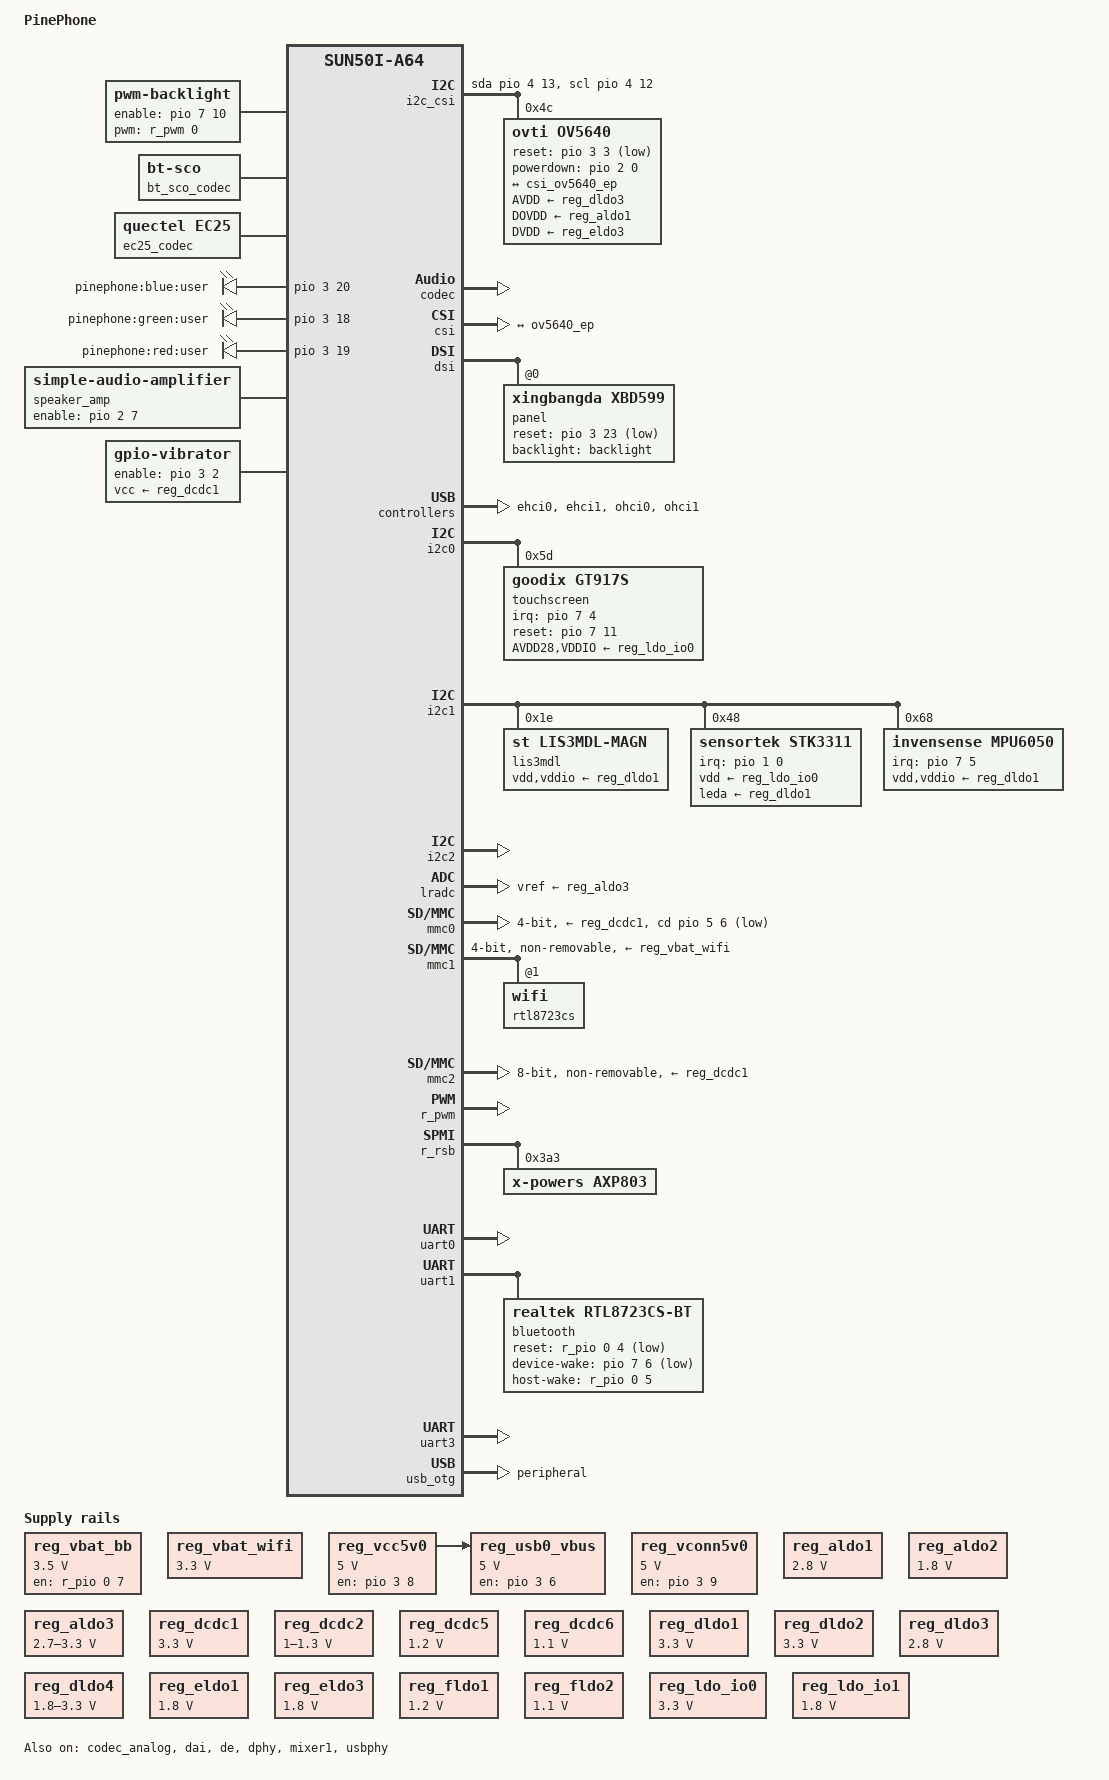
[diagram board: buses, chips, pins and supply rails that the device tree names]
// SPDX-License-Identifier: (GPL-2.0+ OR MIT)
/*
 * Copyright (C) 2019 Icenowy Zheng <icenowy@aosc.xyz>
 *
 */

/dts-v1/;

#include "sun50i-a64.dtsi"
#include "sun50i-a64-cpu-opp.dtsi"

#include <dt-bindings/gpio/gpio.h>
#include <dt-bindings/input/input.h>
#include <dt-bindings/pwm/pwm.h>

/ {
	model = "PinePhone";
	compatible = "pine64,pinephone", "allwinner,sun50i-a64";

	aliases {
		serial0 = &uart0;
		ethernet0 = &rtl8723cs;
	};

	backlight: backlight {
		compatible = "pwm-backlight";
		pwms = <&r_pwm 0 50000 PWM_POLARITY_INVERTED>;
		brightness-levels = <0 10 20 30 40 50 60 70 80 90 100>;
		default-brightness-level = <8>;
		enable-gpios = <&pio 7 10 GPIO_ACTIVE_HIGH>; /* PH10 */
	};

	bt_sco_codec: bt-sco-codec {
		#sound-dai-cells = <1>;
		compatible = "linux,bt-sco";
	};

	chosen {
		stdout-path = "serial0:115200n8";
	};

	ec25_codec: ec25-codec {
		#sound-dai-cells = <0>;
		compatible = "quectel,ec25";
	};

	i2c_csi: i2c-csi {
		compatible = "i2c-gpio";
		sda-gpios = <&pio 4 13 (GPIO_ACTIVE_HIGH | GPIO_OPEN_DRAIN)>; /* PE13 */
		scl-gpios = <&pio 4 12 (GPIO_ACTIVE_HIGH | GPIO_OPEN_DRAIN)>; /* PE12 */
		i2c-gpio,delay-us = <3>;
		#address-cells = <1>;
		#size-cells = <0>;
	};

	leds {
		compatible = "gpio-leds";

		blue {
			label = "pinephone:blue:user";
			gpios = <&pio 3 20 GPIO_ACTIVE_HIGH>; /* PD20 */
		};

		green {
			label = "pinephone:green:user";
			gpios = <&pio 3 18 GPIO_ACTIVE_HIGH>; /* PD18 */
		};

		red {
			label = "pinephone:red:user";
			gpios = <&pio 3 19 GPIO_ACTIVE_HIGH>; /* PD19 */
		};
	};

	reg_usb0_vbus: usb0-vbus {
		compatible = "regulator-fixed";
		regulator-name = "usb0-vbus";
		regulator-min-microvolt = <5000000>;
		regulator-max-microvolt = <5000000>;
		gpio = <&pio 3 6 GPIO_ACTIVE_HIGH>; /* PD6 */
		enable-active-high;
		vin-supply = <&reg_vcc5v0>;
	};

	reg_vbat_bb: vbat-bb {
		compatible = "regulator-fixed";
		regulator-name = "vbat-bb";
		regulator-min-microvolt = <3500000>;
		regulator-max-microvolt = <3500000>;
		gpio = <&r_pio 0 7 GPIO_ACTIVE_HIGH>; /* PL7 */
		enable-active-high;
	};

	reg_vbat_wifi: vbat-wifi {
		compatible = "regulator-fixed";
		regulator-min-microvolt = <3300000>;
		regulator-max-microvolt = <3300000>;
		regulator-name = "vbat-wifi";
	};

	reg_vcc5v0: vcc5v0 {
		compatible = "regulator-fixed";
		regulator-name = "vcc5v0";
		regulator-min-microvolt = <5000000>;
		regulator-max-microvolt = <5000000>;
		gpio = <&pio 3 8 GPIO_ACTIVE_HIGH>; /* PD8 */
		enable-active-high;
	};

	reg_vconn5v0: vconn5v0 {
		compatible = "regulator-fixed";
		regulator-name = "vconn5v0";
		regulator-min-microvolt = <5000000>;
		regulator-max-microvolt = <5000000>;
		gpio = <&pio 3 9 GPIO_ACTIVE_HIGH>; /* PD9 */
		enable-active-high;
	};

	speaker_amp: audio-amplifier {
		compatible = "simple-audio-amplifier";
		enable-gpios = <&pio 2 7 GPIO_ACTIVE_HIGH>; /* PC7 */
		sound-name-prefix = "Speaker Amp";
	};

	vibrator {
		compatible = "gpio-vibrator";
		enable-gpios = <&pio 3 2 GPIO_ACTIVE_HIGH>; /* PD2 */
		vcc-supply = <&reg_dcdc1>;
	};
};

&codec {
	status = "okay";
};

&codec_analog {
	cpvdd-supply = <&reg_eldo1>;
	status = "okay";
};

&cpu0 {
	cpu-supply = <&reg_dcdc2>;
};

&cpu1 {
	cpu-supply = <&reg_dcdc2>;
};

&cpu2 {
	cpu-supply = <&reg_dcdc2>;
};

&cpu3 {
	cpu-supply = <&reg_dcdc2>;
};

&csi {
	pinctrl-0 = <&csi_pins>, <&csi_mclk_pin>;
	status = "okay";

	port {
		#address-cells = <1>;
		#size-cells = <0>;

		csi_ov5640_ep: endpoint@0 {
			reg = <0>;
			remote-endpoint = <&ov5640_ep>;
			bus-width = <8>;
			hsync-active = <1>; /* Active high */
			vsync-active = <0>; /* Active low */
			data-active = <1>;  /* Active high */
			pclk-sample = <1>;  /* Rising */
		};
	};
};

&dai {
	status = "okay";
};

&de {
	status = "okay";
};

&dphy {
	status = "okay";
};

&dsi {
	vcc-dsi-supply = <&reg_dldo1>;
	#address-cells = <1>;
	#size-cells = <0>;
	status = "okay";

	panel@0 {
		compatible = "xingbangda,xbd599";
		reg = <0>;
		reset-gpios = <&pio 3 23 GPIO_ACTIVE_LOW>; /* PD23 */
		backlight = <&backlight>;
	};
};

&ehci0 {
	status = "okay";
};

&ehci1 {
	status = "okay";
};

&i2c_csi {
	ov5640: rear-camera@4c {
		compatible = "ovti,ov5640";
		reg = <0x4c>;
		clocks = <&ccu CLK_CSI_MCLK>;
		clock-names = "xclk";

		AVDD-supply = <&reg_dldo3>;
		DOVDD-supply = <&reg_aldo1>; /* shared with AFVCC */
		DVDD-supply = <&reg_eldo3>;
		reset-gpios = <&pio 3 3 (GPIO_ACTIVE_LOW | GPIO_OPEN_DRAIN)>; /* PD3 */
		powerdown-gpios = <&pio 2 0 (GPIO_ACTIVE_HIGH | GPIO_OPEN_DRAIN)>; /* PC0 */

		port {
			ov5640_ep: endpoint {
				remote-endpoint = <&csi_ov5640_ep>;
				bus-width = <8>;
				hsync-active = <1>; /* Active high */
				vsync-active = <0>; /* Active low */
				data-active = <1>;  /* Active high */
				pclk-sample = <1>;  /* Rising */
			};
		};
	};
};

&i2c0 {
	pinctrl-names = "default";
	pinctrl-0 = <&i2c0_pins>;
	status = "okay";

	touchscreen@5d {
		compatible = "goodix,gt917s", "goodix,gt911";
		reg = <0x5d>;
		interrupt-parent = <&pio>;
		interrupts = <7 4 IRQ_TYPE_LEVEL_HIGH>; /* PH4 */
		irq-gpios = <&pio 7 4 GPIO_ACTIVE_HIGH>; /* PH4 */
		reset-gpios = <&pio 7 11 GPIO_ACTIVE_HIGH>; /* PH11 */
		AVDD28-supply = <&reg_ldo_io0>;
		VDDIO-supply = <&reg_ldo_io0>;
		touchscreen-size-x = <720>;
		touchscreen-size-y = <1440>;
	};
};

&i2c1 {
	pinctrl-names = "default";
	pinctrl-0 = <&i2c1_pins>;
	status = "okay";

	/* Magnetometer */
	lis3mdl@1e {
		compatible = "st,lis3mdl-magn";
		reg = <0x1e>;
		vdd-supply = <&reg_dldo1>;
		vddio-supply = <&reg_dldo1>;
	};

	/* Light/proximity sensor */
	stk3311@48 {
		compatible = "sensortek,stk3311";
		reg = <0x48>;
		interrupt-parent = <&pio>;
		interrupts = <1 0 IRQ_TYPE_EDGE_FALLING>; /* PB0 */
		vdd-supply = <&reg_ldo_io0>;
		leda-supply = <&reg_dldo1>;
	};

	/* Accelerometer/gyroscope */
	mpu6050@68 {
		compatible = "invensense,mpu6050";
		reg = <0x68>;
		interrupt-parent = <&pio>;
		interrupts = <7 5 IRQ_TYPE_EDGE_RISING>; /* PH5 */
		vdd-supply = <&reg_dldo1>;
		vddio-supply = <&reg_dldo1>;
	};
};

/* Connected to pogo pins */
&i2c2 {
	pinctrl-names = "default";
	pinctrl-0 = <&i2c2_pins>;
	status = "okay";
};

&lradc {
	vref-supply = <&reg_aldo3>;
	status = "okay";

	button-200 {
		label = "Volume Up";
		linux,code = <KEY_VOLUMEUP>;
		channel = <0>;
		voltage = <200000>;
	};

	button-400 {
		label = "Volume Down";
		linux,code = <KEY_VOLUMEDOWN>;
		channel = <0>;
		voltage = <400000>;
	};
};

&mixer1 {
	status = "okay";
};

&mmc0 {
	pinctrl-names = "default";
	pinctrl-0 = <&mmc0_pins>;
	vmmc-supply = <&reg_dcdc1>;
	vqmmc-supply = <&reg_dcdc1>;
	cd-gpios = <&pio 5 6 GPIO_ACTIVE_LOW>; /* PF6 */
	disable-wp;
	bus-width = <4>;
	status = "okay";
};

&mmc1 {
	pinctrl-names = "default";
	pinctrl-0 = <&mmc1_pins>;
	vmmc-supply = <&reg_vbat_wifi>;
	vqmmc-supply = <&reg_dldo4>;
	bus-width = <4>;
	non-removable;
	status = "okay";

	rtl8723cs: wifi@1 {
		reg = <1>;
	};
};

&mmc2 {
	pinctrl-names = "default";
	pinctrl-0 = <&mmc2_pins>;
	vmmc-supply = <&reg_dcdc1>;
	vqmmc-supply = <&reg_dcdc1>;
	bus-width = <8>;
	non-removable;
	cap-mmc-hw-reset;
	status = "okay";
};

&ohci0 {
	status = "okay";
};

&ohci1 {
	status = "okay";
};

&pio {
	vcc-pb-supply = <&reg_dcdc1>;
	vcc-pc-supply = <&reg_dcdc1>;
	vcc-pd-supply = <&reg_dcdc1>;
	vcc-pe-supply = <&reg_aldo1>;
	vcc-pf-supply = <&reg_dcdc1>;
	vcc-pg-supply = <&reg_dldo4>;
	vcc-ph-supply = <&reg_dcdc1>;
};

&r_pio {
	/*
	 * FIXME: We can't add that supply for now since it would
	 * create a circular dependency between pinctrl, the regulator
	 * and the RSB Bus.
	 *
	 * vcc-pl-supply = <&reg_aldo2>;
	 */
};

&r_pwm {
	status = "okay";
};

&r_rsb {
	status = "okay";

	axp803: pmic@3a3 {
		compatible = "x-powers,axp803";
		reg = <0x3a3>;
		interrupt-parent = <&r_intc>;
		interrupts = <0 IRQ_TYPE_LEVEL_LOW>;
	};
};

#include "axp803.dtsi"

&ac_power_supply {
	status = "okay";
};

&axp_adc {
	x-powers,ts-as-gpadc;
};

&battery_power_supply {
	status = "okay";
};

&reg_aldo1 {
	regulator-min-microvolt = <2800000>;
	regulator-max-microvolt = <2800000>;
	regulator-name = "dovdd-csi";
};

&reg_aldo2 {
	regulator-always-on;
	regulator-min-microvolt = <1800000>;
	regulator-max-microvolt = <1800000>;
	regulator-name = "vcc-pl";
};

&reg_aldo3 {
	regulator-always-on;
	regulator-min-microvolt = <2700000>;
	regulator-max-microvolt = <3300000>;
	regulator-name = "vcc-pll-avcc";
};

&reg_dcdc1 {
	regulator-always-on;
	regulator-min-microvolt = <3300000>;
	regulator-max-microvolt = <3300000>;
	regulator-name = "vcc-3v3";
};

&reg_dcdc2 {
	regulator-always-on;
	regulator-min-microvolt = <1000000>;
	regulator-max-microvolt = <1300000>;
	regulator-name = "vdd-cpux";
};

/* DCDC3 is polyphased with DCDC2 */

&reg_dcdc5 {
	regulator-always-on;
	regulator-min-microvolt = <1200000>;
	regulator-max-microvolt = <1200000>;
	regulator-name = "vcc-dram";
};

&reg_dcdc6 {
	regulator-always-on;
	regulator-min-microvolt = <1100000>;
	regulator-max-microvolt = <1100000>;
	regulator-name = "vdd-sys";
};

&reg_dldo1 {
	regulator-always-on;
	regulator-min-microvolt = <3300000>;
	regulator-max-microvolt = <3300000>;
	regulator-name = "vcc-dsi-sensor";
};

&reg_dldo2 {
	regulator-always-on;
	regulator-min-microvolt = <3300000>;
	regulator-max-microvolt = <3300000>;
	regulator-name = "vcc-mipi-io";
};

&reg_dldo3 {
	regulator-min-microvolt = <2800000>;
	regulator-max-microvolt = <2800000>;
	regulator-name = "avdd-csi";
};

&reg_dldo4 {
	regulator-min-microvolt = <1800000>;
	regulator-max-microvolt = <3300000>;
	regulator-name = "vcc-wifi-io";
};

&reg_eldo1 {
	regulator-always-on;
	regulator-min-microvolt = <1800000>;
	regulator-max-microvolt = <1800000>;
	regulator-name = "vcc-lpddr";
};

&reg_eldo3 {
	regulator-min-microvolt = <1800000>;
	regulator-max-microvolt = <1800000>;
	regulator-name = "dvdd-1v8-csi";
};

&reg_fldo1 {
	regulator-min-microvolt = <1200000>;
	regulator-max-microvolt = <1200000>;
	regulator-name = "vcc-1v2-hsic";
};

&reg_fldo2 {
	regulator-always-on;
	regulator-min-microvolt = <1100000>;
	regulator-max-microvolt = <1100000>;
	regulator-name = "vdd-cpus";
};

&reg_ldo_io0 {
	regulator-always-on;
	regulator-min-microvolt = <3300000>;
	regulator-max-microvolt = <3300000>;
	regulator-name = "vcc-lcd-ctp-stk";
	status = "okay";
};

&reg_ldo_io1 {
	regulator-min-microvolt = <1800000>;
	regulator-max-microvolt = <1800000>;
	regulator-name = "vcc-1v8-typec";
	status = "okay";
};

&reg_rtc_ldo {
	regulator-name = "vcc-rtc";
};

&sound {
	status = "okay";
	simple-audio-card,aux-devs = <&codec_analog>, <&speaker_amp>;
	simple-audio-card,widgets = "Microphone", "Headset Microphone",
				    "Microphone", "Internal Microphone",
				    "Headphone", "Headphone Jack",
				    "Speaker", "Internal Earpiece",
				    "Speaker", "Internal Speaker";
	simple-audio-card,routing =
			"Headphone Jack", "HP",
			"Internal Earpiece", "EARPIECE",
			"Internal Speaker", "Speaker Amp OUTL",
			"Internal Speaker", "Speaker Amp OUTR",
			"Speaker Amp INL", "LINEOUT",
			"Speaker Amp INR", "LINEOUT",
			"Left DAC", "DAC Left",
			"Right DAC", "DAC Right",
			"ADC Left", "Left ADC",
			"ADC Right", "Right ADC",
			"Internal Microphone", "MBIAS",
			"MIC1", "Internal Microphone",
			"Headset Microphone", "HBIAS",
			"MIC2", "Headset Microphone";
};

&uart0 {
	pinctrl-names = "default";
	pinctrl-0 = <&uart0_pb_pins>;
	status = "okay";
};

&uart1 {
	pinctrl-names = "default";
	pinctrl-0 = <&uart1_pins>, <&uart1_rts_cts_pins>;
	status = "okay";

	bluetooth {
		compatible = "realtek,rtl8723cs-bt";
		reset-gpios = <&r_pio 0 4 GPIO_ACTIVE_LOW>; /* PL4 */
		device-wake-gpios = <&pio 7 6 GPIO_ACTIVE_LOW>; /* PH6 */
		host-wake-gpios = <&r_pio 0 5 GPIO_ACTIVE_HIGH>; /* PL5 */
		firmware-postfix = "pinebook";
	};
};

&uart3 {
	pinctrl-names = "default";
	pinctrl-0 = <&uart3_pins>;
	status = "okay";
};

&usb_otg {
	dr_mode = "peripheral";
	status = "okay";
};

&usb_power_supply {
	status = "okay";
};

&usbphy {
	usb1_vbus-supply = <&reg_vbat_bb>;
	status = "okay";
};
